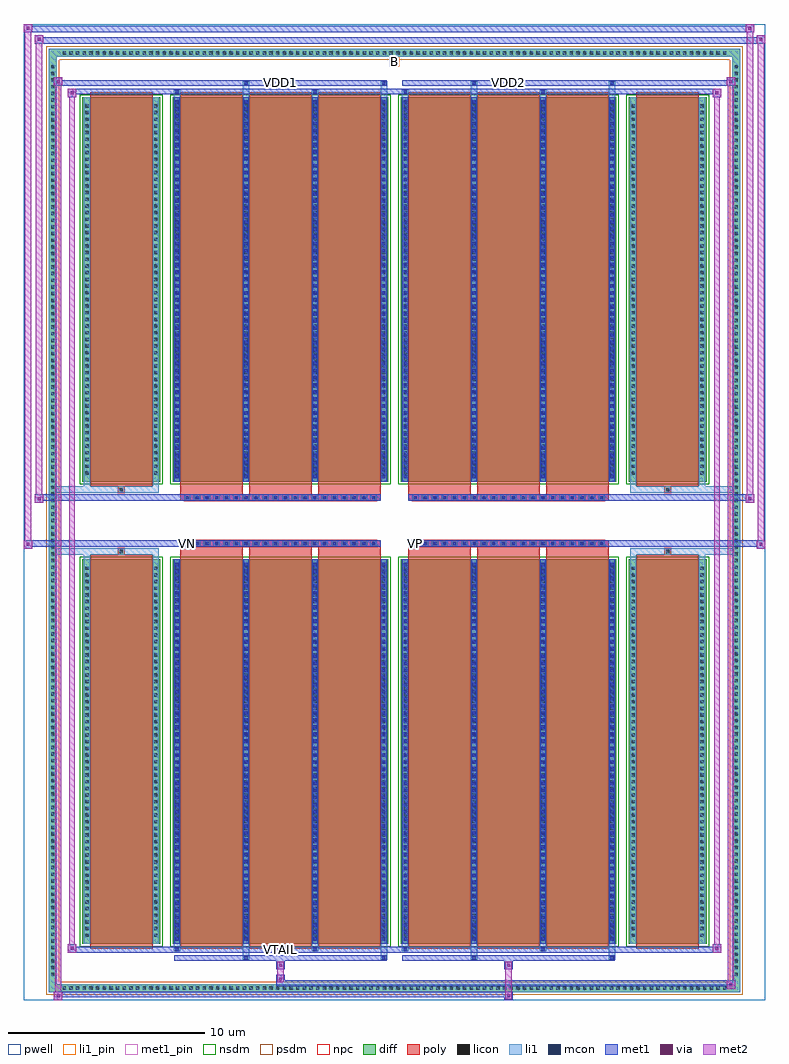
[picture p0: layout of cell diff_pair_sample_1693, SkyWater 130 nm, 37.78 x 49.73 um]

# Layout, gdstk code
import gdstk
lib = gdstk.Library(unit=1e-6, precision=5e-09)
def R(c, l, rs):  # rectangles x0, y0, x1, y1
    for r in rs: c.add(gdstk.rectangle(r[:2], r[2:], *l))
def A(c, l, x, y, w, h, nx, ny, dx, dy):  # array of equal rectangles
    R(c, l, [(x+i*dx, y+j*dy, x+i*dx+w, y+j*dy+h) for i in range(nx) for j in range(ny)])
def P(c, l, *ps):  # polygons
    for p in ps: c.add(gdstk.Polygon(p, *l))
pwell = (64, 44)
diff = (65, 20)
poly = (66, 20)
licon = (66, 44)
li1_pin = (67, 16)
li1 = (67, 20)
mcon = (67, 44)
met1_pin = (68, 16)
met1 = (68, 20)
via = (68, 44)
met2 = (69, 20)
nsdm = (93, 44)
psdm = (94, 20)
npc = (95, 20)

diff_pair_sample_1693 = lib.new_cell('diff_pair_sample_1693')
R(diff_pair_sample_1693, pwell, [(-18.89,-24.43,18.89,25.3), (-16.21,-22.62,-0.01,-0.8), (0.01,-22.62,16.21,-0.8), (-16.21,0.8,-0.01,22.62), (0.01,0.8,16.21,22.62)])
A(diff_pair_sample_1693, diff, -17.035, -24.03, 0.41, 0.41, 100, 2, 0.34, 47.65)
A(diff_pair_sample_1693, diff, -17.62, -23.325, 0.41, 0.41, 1, 137, 0, 0.34)
A(diff_pair_sample_1693, diff, 17.21, -23.325, 0.41, 0.41, 1, 137, 0, 0.34)
R(diff_pair_sample_1693, diff, [(-17.035,-24.03,17.035,-23.62), (-17.62,-23.325,-17.21,23.325), (17.21,-23.325,17.62,23.325), (-15.9,-21.575,-11.94,-1.985), (-11.3,-21.575,-0.32,-1.985), (0.32,-21.575,11.3,-1.985), (11.94,-21.575,15.9,-1.985), (-15.9,1.985,-11.94,21.575), (-11.3,1.985,-0.32,21.575), (0.32,1.985,11.3,21.575), (11.94,1.985,15.9,21.575), (-17.035,23.62,17.035,24.03)])
P(diff_pair_sample_1693, diff, [(17.62,24.03),(-17.62,24.03),(-17.62,-23.62),(-17.21,-23.62),(-17.21,23.62),(17.21,23.62),(17.21,-23.62),(-17.21,-23.62),(-17.62,-23.62),(-17.62,-24.03),(17.62,-24.03)])
A(diff_pair_sample_1693, poly, -10.91, -21.825, 3.18, 20.09, 3, 2, 3.51, 23.56)
A(diff_pair_sample_1693, poly, 0.71, -21.825, 3.18, 20.09, 3, 2, 3.51, 23.56)
A(diff_pair_sample_1693, poly, -10.91, -1.735, 3.18, 0.405, 3, 2, 3.51, 3.065)
A(diff_pair_sample_1693, poly, 0.71, -1.735, 3.18, 0.405, 3, 2, 3.51, 3.065)
A(diff_pair_sample_1693, poly, -10.725, -1.33, 0.33, 0.33, 20, 2, 0.5, 2.33)
A(diff_pair_sample_1693, poly, 0.895, -1.33, 0.33, 0.33, 20, 2, 0.5, 2.33)
R(diff_pair_sample_1693, poly, [(-15.51,-21.825,-12.33,-1.735), (12.33,-21.825,15.51,-1.735), (-14.085,-1.735,-13.755,-1.405), (-14.085,-1.735,-13.755,-1.405), (13.755,-1.735,14.085,-1.405), (13.755,-1.735,14.085,-1.405), (-10.91,-1.33,-0.71,-1), (0.71,-1.33,10.91,-1), (-10.91,1,-0.71,1.33), (0.71,1,10.91,1.33), (-14.085,1.405,-13.755,1.735), (-14.085,1.405,-13.755,1.735), (13.755,1.405,14.085,1.735), (13.755,1.405,14.085,1.735), (-15.51,1.735,-12.33,21.825), (12.33,1.735,15.51,21.825)])
A(diff_pair_sample_1693, licon, -16.915, -23.91, 0.17, 0.17, 100, 2, 0.34, 47.65)
A(diff_pair_sample_1693, licon, -17.5, -23.205, 0.17, 0.17, 1, 137, 0, 0.34)
A(diff_pair_sample_1693, licon, 17.33, -23.205, 0.17, 0.17, 1, 137, 0, 0.34)
A(diff_pair_sample_1693, licon, -15.76, -21.215, 0.17, 0.17, 1, 56, 0, 0.34)
A(diff_pair_sample_1693, licon, -12.25, -21.215, 0.17, 0.17, 1, 56, 0, 0.34)
A(diff_pair_sample_1693, licon, -11.16, -21.215, 0.17, 0.17, 4, 56, 3.51, 0.34)
A(diff_pair_sample_1693, licon, 0.46, -21.215, 0.17, 0.17, 4, 56, 3.51, 0.34)
A(diff_pair_sample_1693, licon, 12.08, -21.215, 0.17, 0.17, 1, 56, 0, 0.34)
A(diff_pair_sample_1693, licon, 15.59, -21.215, 0.17, 0.17, 1, 56, 0, 0.34)
A(diff_pair_sample_1693, licon, -10.645, -1.25, 0.17, 0.17, 20, 2, 0.5, 2.33)
A(diff_pair_sample_1693, licon, 0.975, -1.25, 0.17, 0.17, 20, 2, 0.5, 2.33)
A(diff_pair_sample_1693, licon, -15.76, 2.345, 0.17, 0.17, 1, 56, 0, 0.34)
A(diff_pair_sample_1693, licon, -12.25, 2.345, 0.17, 0.17, 1, 56, 0, 0.34)
A(diff_pair_sample_1693, licon, -11.16, 2.345, 0.17, 0.17, 4, 56, 3.51, 0.34)
A(diff_pair_sample_1693, licon, 0.46, 2.345, 0.17, 0.17, 4, 56, 3.51, 0.34)
A(diff_pair_sample_1693, licon, 12.08, 2.345, 0.17, 0.17, 1, 56, 0, 0.34)
A(diff_pair_sample_1693, licon, 15.59, 2.345, 0.17, 0.17, 1, 56, 0, 0.34)
R(diff_pair_sample_1693, licon, [(-14.005,-1.655,-13.835,-1.485), (13.835,-1.655,14.005,-1.485), (-14.005,1.485,-13.835,1.655), (13.835,1.485,14.005,1.655)])
R(diff_pair_sample_1693, li1_pin, [(-0.25,23.12,0.25,23.62)])
A(diff_pair_sample_1693, li1, -16.995, -23.99, 0.33, 0.33, 100, 2, 0.34, 47.65)
A(diff_pair_sample_1693, li1, -17.58, -23.285, 0.33, 0.33, 1, 137, 0, 0.34)
A(diff_pair_sample_1693, li1, 17.25, -23.285, 0.33, 0.33, 1, 137, 0, 0.34)
A(diff_pair_sample_1693, li1, -11.24, -21.575, 0.33, 19.59, 4, 2, 3.51, 23.56)
A(diff_pair_sample_1693, li1, 0.38, -21.575, 0.33, 19.59, 4, 2, 3.51, 23.56)
A(diff_pair_sample_1693, li1, -11.16, -21.405, 0.17, 0.17, 4, 54, 3.51, 0.36)
A(diff_pair_sample_1693, li1, -11.16, -21.405, 0.17, 19.25, 4, 2, 3.51, 23.56)
A(diff_pair_sample_1693, li1, 0.46, -21.405, 0.17, 0.17, 4, 54, 3.51, 0.36)
A(diff_pair_sample_1693, li1, 0.46, -21.405, 0.17, 19.25, 4, 2, 3.51, 23.56)
A(diff_pair_sample_1693, li1, -15.84, -21.295, 0.33, 0.33, 1, 56, 0, 0.34)
A(diff_pair_sample_1693, li1, -12.33, -21.295, 0.33, 0.33, 1, 56, 0, 0.34)
A(diff_pair_sample_1693, li1, -11.24, -21.295, 0.33, 0.33, 4, 56, 3.51, 0.34)
A(diff_pair_sample_1693, li1, 0.38, -21.295, 0.33, 0.33, 4, 56, 3.51, 0.34)
A(diff_pair_sample_1693, li1, 12, -21.295, 0.33, 0.33, 1, 56, 0, 0.34)
A(diff_pair_sample_1693, li1, 15.51, -21.295, 0.33, 0.33, 1, 56, 0, 0.34)
A(diff_pair_sample_1693, li1, -10.725, -1.33, 0.33, 0.33, 20, 2, 0.5, 2.33)
A(diff_pair_sample_1693, li1, 0.895, -1.33, 0.33, 0.33, 20, 2, 0.5, 2.33)
A(diff_pair_sample_1693, li1, -11.16, 2.155, 0.17, 0.17, 4, 54, 3.51, 0.36)
A(diff_pair_sample_1693, li1, 0.46, 2.155, 0.17, 0.17, 4, 54, 3.51, 0.36)
A(diff_pair_sample_1693, li1, -15.84, 2.265, 0.33, 0.33, 1, 56, 0, 0.34)
A(diff_pair_sample_1693, li1, -12.33, 2.265, 0.33, 0.33, 1, 56, 0, 0.34)
A(diff_pair_sample_1693, li1, -11.24, 2.265, 0.33, 0.33, 4, 56, 3.51, 0.34)
A(diff_pair_sample_1693, li1, 0.38, 2.265, 0.33, 0.33, 4, 56, 3.51, 0.34)
A(diff_pair_sample_1693, li1, 12, 2.265, 0.33, 0.33, 1, 56, 0, 0.34)
A(diff_pair_sample_1693, li1, 15.51, 2.265, 0.33, 0.33, 1, 56, 0, 0.34)
R(diff_pair_sample_1693, li1, [(-17.62,-24.03,-17.21,-23.62), (-17.62,-24.03,-17.21,-23.62), (-17.21,-24.03,17.21,-23.62), (17.21,-24.03,17.62,-23.62), (17.21,-24.03,17.62,-23.62), (-17.62,-23.62,-17.21,23.62), (17.21,-23.62,17.62,23.62), (-7.73,-22.38,-7.4,-21.575), (-7.65,-22.38,-7.48,-22.21), (-0.71,-22.38,-0.38,-21.575), (-0.63,-22.38,-0.46,-22.21), (3.89,-22.38,4.22,-21.575), (3.97,-22.38,4.14,-22.21), (10.91,-22.38,11.24,-21.575), (10.99,-22.38,11.16,-22.21), (-11.24,-21.95,-10.91,-21.575), (-11.16,-21.95,-10.99,-21.78), (-4.22,-21.95,-3.89,-21.575), (-4.14,-21.95,-3.97,-21.78), (0.38,-21.95,0.71,-21.575), (0.46,-21.95,0.63,-21.78), (7.4,-21.95,7.73,-21.575), (7.48,-21.95,7.65,-21.78), (-15.84,-21.575,-15.51,-1.985), (-12.33,-21.575,-12,-1.985), (12,-21.575,12.33,-1.985), (15.51,-21.575,15.84,-1.985), (-15.84,-1.985,-15.51,-1.405), (-12.33,-1.985,-12,-1.405), (12,-1.985,12.33,-1.405), (15.51,-1.985,15.84,-1.405), (-17.62,-1.735,-14.085,-1.405), (-15.84,-1.735,-14.085,-1.405), (-14.085,-1.735,-13.755,-1.405), (-13.755,-1.735,-12,-1.405), (12,-1.735,13.755,-1.405), (13.755,-1.735,14.085,-1.405), (13.755,-1.735,17.62,-1.405), (14.085,-1.735,15.84,-1.405), (-17.62,1.405,-14.085,1.735), (-15.84,1.405,-14.085,1.735), (-15.84,1.405,-15.51,1.985), (-14.085,1.405,-13.755,1.735), (-13.755,1.405,-12,1.735), (-12.33,1.405,-12,1.985), (12,1.405,13.755,1.735), (12,1.405,12.33,1.985), (13.755,1.405,14.085,1.735), (13.755,1.405,17.62,1.735), (14.085,1.405,15.84,1.735), (15.51,1.405,15.84,1.985), (-15.84,1.985,-15.51,21.575), (-12.33,1.985,-12,21.575), (12,1.985,12.33,21.575), (15.51,1.985,15.84,21.575), (-11.24,21.575,-10.91,21.95), (-7.73,21.575,-7.4,22.38), (-4.22,21.575,-3.89,21.95), (-0.71,21.575,-0.38,22.38), (0.38,21.575,0.71,21.95), (3.89,21.575,4.22,22.38), (7.4,21.575,7.73,21.95), (10.91,21.575,11.24,22.38), (-11.16,21.78,-10.99,21.95), (-4.14,21.78,-3.97,21.95), (0.46,21.78,0.63,21.95), (7.48,21.78,7.65,21.95), (-7.65,22.21,-7.48,22.38), (-0.63,22.21,-0.46,22.38), (3.97,22.21,4.14,22.38), (10.99,22.21,11.16,22.38), (-17.62,23.62,-17.21,24.03), (-17.62,23.62,-17.21,24.03), (-17.21,23.62,17.21,24.03), (17.21,23.62,17.62,24.03), (17.21,23.62,17.62,24.03)])
A(diff_pair_sample_1693, mcon, -11.16, -21.405, 0.17, 0.17, 4, 54, 3.51, 0.36)
A(diff_pair_sample_1693, mcon, 0.46, -21.405, 0.17, 0.17, 4, 54, 3.51, 0.36)
A(diff_pair_sample_1693, mcon, -10.645, -1.25, 0.17, 0.17, 20, 2, 0.5, 2.33)
A(diff_pair_sample_1693, mcon, 0.975, -1.25, 0.17, 0.17, 20, 2, 0.5, 2.33)
A(diff_pair_sample_1693, mcon, -11.16, 2.155, 0.17, 0.17, 4, 54, 3.51, 0.36)
A(diff_pair_sample_1693, mcon, 0.46, 2.155, 0.17, 0.17, 4, 54, 3.51, 0.36)
R(diff_pair_sample_1693, mcon, [(-7.65,-22.38,-7.48,-22.21), (-0.63,-22.38,-0.46,-22.21), (3.97,-22.38,4.14,-22.21), (10.99,-22.38,11.16,-22.21), (-11.16,-21.95,-10.99,-21.78), (-4.14,-21.95,-3.97,-21.78), (0.46,-21.95,0.63,-21.78), (7.48,-21.95,7.65,-21.78), (-11.16,21.78,-10.99,21.95), (-4.14,21.78,-3.97,21.95), (0.46,21.78,0.63,21.95), (7.48,21.78,7.65,21.95), (-7.65,22.21,-7.48,22.38), (-0.63,22.21,-0.46,22.38), (3.97,22.21,4.14,22.38), (10.99,22.21,11.16,22.38)])
R(diff_pair_sample_1693, met1_pin, [(-5.945,-21.99,-5.675,-21.72), (-10.695,-1.29,-10.425,-1.02), (0.925,-1.29,1.195,-1.02), (-5.945,22.17,-5.675,22.44), (5.675,22.17,5.945,22.44)])
A(diff_pair_sample_1693, met1, -11.22, -21.575, 0.29, 19.59, 4, 2, 3.51, 23.56)
A(diff_pair_sample_1693, met1, 0.4, -21.575, 0.29, 19.59, 4, 2, 3.51, 23.56)
A(diff_pair_sample_1693, met1, -11.22, -21.465, 0.29, 0.29, 4, 54, 3.51, 0.36)
A(diff_pair_sample_1693, met1, 0.4, -21.465, 0.29, 0.29, 4, 54, 3.51, 0.36)
A(diff_pair_sample_1693, met1, -10.705, -1.31, 0.29, 0.29, 20, 2, 0.5, 2.33)
A(diff_pair_sample_1693, met1, 0.915, -1.31, 0.29, 0.29, 20, 2, 0.5, 2.33)
A(diff_pair_sample_1693, met1, -11.22, 2.095, 0.29, 0.29, 4, 54, 3.51, 0.36)
A(diff_pair_sample_1693, met1, 0.4, 2.095, 0.29, 0.29, 4, 54, 3.51, 0.36)
R(diff_pair_sample_1693, met1, [(-17.35,-24.43,-16.92,-24), (5.595,-24.43,6.025,-24), (-17.35,-24.29,6.025,-24), (16.92,-23.86,17.35,-23.43), (-6.025,-23.72,17.35,-23.43), (-6.025,-23.58,-5.595,-23.15), (-6.025,-22.87,-5.595,-22.44), (5.595,-22.87,6.025,-22.44), (-11.22,-22.44,-0.4,-22.15), (-7.71,-22.44,-7.42,-22.15), (-0.69,-22.44,-0.4,-22.15), (0.4,-22.44,11.22,-22.15), (3.91,-22.44,4.2,-22.15), (10.93,-22.44,11.22,-22.15), (-16.64,-22.01,-16.21,-21.58), (-16.64,-22.01,-11.22,-21.72), (-11.22,-22.01,-10.93,-21.72), (-11.22,-22.01,-0.4,-21.72), (-4.2,-22.01,-3.91,-21.72), (-0.4,-22.01,0.4,-21.72), (0.4,-22.01,0.69,-21.72), (0.4,-22.01,11.22,-21.72), (7.42,-22.01,7.71,-21.72), (11.22,-22.01,16.64,-21.72), (16.21,-22.01,16.64,-21.58), (-18.89,-1.43,-18.46,-1), (18.46,-1.43,18.89,-1), (-18.89,-1.33,-0.71,-1), (-10.91,-1.33,-0.71,-1), (0.71,-1.33,10.91,-1), (0.71,-1.33,18.89,-1), (-18.32,0.9,-17.89,1.33), (17.89,0.9,18.32,1.33), (-18.32,1,-10.91,1.33), (-10.91,1,-0.71,1.33), (0.71,1,10.91,1.33), (10.91,1,18.32,1.33), (-16.64,21.58,-16.21,22.01), (16.21,21.58,16.64,22.01), (-16.64,21.72,-11.22,22.01), (-11.22,21.72,-10.93,22.01), (-11.22,21.72,-0.4,22.01), (-4.2,21.72,-3.91,22.01), (-0.4,21.72,0.4,22.01), (0.4,21.72,0.69,22.01), (0.4,21.72,11.22,22.01), (7.42,21.72,7.71,22.01), (11.22,21.72,16.64,22.01), (-17.35,22.15,-16.92,22.58), (-17.35,22.15,-11.22,22.44), (-11.22,22.15,-0.4,22.44), (-7.71,22.15,-7.42,22.44), (-0.69,22.15,-0.4,22.44), (0.4,22.15,11.22,22.44), (3.91,22.15,4.2,22.44), (10.93,22.15,11.22,22.44), (11.22,22.15,17.35,22.44), (16.92,22.15,17.35,22.58), (-18.32,24.3,-17.89,24.73), (-18.32,24.3,-16.21,24.63), (-16.21,24.3,16.21,24.63), (16.21,24.3,18.89,24.63), (18.46,24.3,18.89,24.73), (-18.89,24.87,-18.46,25.3), (-18.89,24.87,-16.21,25.2), (-16.21,24.87,16.21,25.2), (16.21,24.87,18.32,25.2), (17.89,24.87,18.32,25.3)])
R(diff_pair_sample_1693, via, [(-17.21,-24.29,-17.06,-24.14), (5.735,-24.29,5.885,-24.14), (17.06,-23.72,17.21,-23.57), (-5.885,-23.44,-5.735,-23.29), (-5.885,-22.73,-5.735,-22.58), (5.735,-22.73,5.885,-22.58), (-16.5,-21.87,-16.35,-21.72), (16.35,-21.87,16.5,-21.72), (-18.75,-1.29,-18.6,-1.14), (18.6,-1.29,18.75,-1.14), (-18.18,1.04,-18.03,1.19), (18.03,1.04,18.18,1.19), (-16.5,21.72,-16.35,21.87), (16.35,21.72,16.5,21.87), (-17.21,22.29,-17.06,22.44), (17.06,22.29,17.21,22.44), (-18.18,24.44,-18.03,24.59), (18.6,24.44,18.75,24.59), (-18.75,25.01,-18.6,25.16), (18.03,25.01,18.18,25.16)])
R(diff_pair_sample_1693, met2, [(-17.35,-24.43,-16.92,-24), (-17.28,-24.43,-16.99,22.58), (-16.99,-24.43,-16.92,-24), (-17.3,-24.38,-16.97,-24.05), (5.645,-24.38,5.975,-24.05), (5.645,-24.05,5.975,-22.82), (16.92,-23.86,17.35,-23.43), (16.99,-23.86,17.28,22.58), (17.28,-23.86,17.35,-23.43), (16.97,-23.81,17.3,-23.48), (-5.975,-23.53,-5.645,-23.2), (-5.975,-23.2,-5.645,-22.82), (-5.975,-22.82,-5.645,-22.49), (5.645,-22.82,5.975,-22.49), (-16.64,-22.01,-16.21,-21.58), (-16.57,-22.01,-16.28,22.01), (-16.28,-22.01,-16.21,-21.58), (16.21,-22.01,16.64,-21.58), (16.28,-22.01,16.57,22.01), (16.57,-22.01,16.64,-21.58), (-16.59,-21.96,-16.26,-21.63), (16.26,-21.96,16.59,-21.63), (-18.89,-1.43,-18.46,-1), (-18.84,-1.43,-18.51,25.3), (-18.51,-1.43,-18.46,-1), (18.46,-1.43,18.89,-1), (18.51,-1.43,18.84,24.73), (18.84,-1.43,18.89,-1), (-18.84,-1.38,-18.51,-1.05), (18.51,-1.38,18.84,-1.05), (-18.32,0.9,-17.89,1.33), (-18.27,0.9,-17.94,24.73), (-17.94,0.9,-17.89,1.33), (17.89,0.9,18.32,1.33), (17.94,0.9,18.27,25.3), (18.27,0.9,18.32,1.33), (-18.27,0.95,-17.94,1.28), (17.94,0.95,18.27,1.28), (-16.64,21.58,-16.21,22.01), (-16.28,21.58,-16.21,22.01), (16.21,21.58,16.64,22.01), (16.57,21.58,16.64,22.01), (-16.59,21.63,-16.26,21.96), (16.26,21.63,16.59,21.96), (-17.35,22.15,-16.92,22.58), (-16.99,22.15,-16.92,22.58), (16.92,22.15,17.35,22.58), (17.28,22.15,17.35,22.58), (-17.3,22.2,-16.97,22.53), (16.97,22.2,17.3,22.53), (-18.32,24.3,-17.89,24.73), (-17.94,24.3,-17.89,24.73), (18.46,24.3,18.89,24.73), (18.84,24.3,18.89,24.73), (-18.27,24.35,-17.94,24.68), (18.51,24.35,18.84,24.68), (-18.89,24.87,-18.46,25.3), (-18.51,24.87,-18.46,25.3), (17.89,24.87,18.32,25.3), (18.27,24.87,18.32,25.3), (-18.84,24.92,-18.51,25.25), (17.94,24.92,18.27,25.25)])
R(diff_pair_sample_1693, nsdm, [(-16.03,-21.705,-11.81,-1.855), (-11.43,-21.705,-0.19,-1.855), (0.19,-21.705,11.43,-1.855), (11.81,-21.705,16.03,-1.855), (-16.03,1.855,-11.81,21.705), (-11.43,1.855,-0.19,21.705), (0.19,1.855,11.43,21.705), (11.81,1.855,16.03,21.705)])
P(diff_pair_sample_1693, psdm, [(17.75,24.16),(-17.75,24.16),(-17.75,-23.49),(-17.08,-23.49),(-17.08,23.49),(17.08,23.49),(17.08,-23.49),(-17.08,-23.49),(-17.75,-23.49),(-17.75,-24.16),(17.75,-24.16)])
A(diff_pair_sample_1693, npc, -10.745, -1.35, 0.37, 0.37, 20, 2, 0.5, 2.33)
A(diff_pair_sample_1693, npc, 0.875, -1.35, 0.37, 0.37, 20, 2, 0.5, 2.33)
R(diff_pair_sample_1693, npc, [(-14.105,-1.755,-13.735,-1.385), (13.735,-1.755,14.105,-1.385), (-10.745,-1.35,-9.875,-0.98), (-10.745,-1.35,-9.875,-0.98), (-10.245,-1.35,-9.375,-0.98), (-10.245,-1.35,-9.375,-0.98), (-9.745,-1.35,-8.875,-0.98), (-9.745,-1.35,-8.875,-0.98), (-9.245,-1.35,-8.375,-0.98), (-9.245,-1.35,-8.375,-0.98), (-8.745,-1.35,-7.875,-0.98), (-8.745,-1.35,-7.875,-0.98), (-8.245,-1.35,-7.375,-0.98), (-8.245,-1.35,-7.375,-0.98), (-7.745,-1.35,-6.875,-0.98), (-7.745,-1.35,-6.875,-0.98), (-7.245,-1.35,-6.375,-0.98), (-7.245,-1.35,-6.375,-0.98), (-6.745,-1.35,-5.875,-0.98), (-6.745,-1.35,-5.875,-0.98), (-6.245,-1.35,-5.375,-0.98), (-6.245,-1.35,-5.375,-0.98), (-5.745,-1.35,-4.875,-0.98), (-5.745,-1.35,-4.875,-0.98), (-5.245,-1.35,-4.375,-0.98), (-5.245,-1.35,-4.375,-0.98), (-4.745,-1.35,-3.875,-0.98), (-4.745,-1.35,-3.875,-0.98), (-4.245,-1.35,-3.375,-0.98), (-4.245,-1.35,-3.375,-0.98), (-3.745,-1.35,-2.875,-0.98), (-3.745,-1.35,-2.875,-0.98), (-3.245,-1.35,-2.375,-0.98), (-3.245,-1.35,-2.375,-0.98), (-2.745,-1.35,-1.875,-0.98), (-2.745,-1.35,-1.875,-0.98), (-2.245,-1.35,-1.375,-0.98), (-2.245,-1.35,-1.375,-0.98), (-1.745,-1.35,-0.875,-0.98), (-1.745,-1.35,-0.875,-0.98), (0.875,-1.35,1.745,-0.98), (0.875,-1.35,1.745,-0.98), (1.375,-1.35,2.245,-0.98), (1.375,-1.35,2.245,-0.98), (1.875,-1.35,2.745,-0.98), (1.875,-1.35,2.745,-0.98), (2.375,-1.35,3.245,-0.98), (2.375,-1.35,3.245,-0.98), (2.875,-1.35,3.745,-0.98), (2.875,-1.35,3.745,-0.98), (3.375,-1.35,4.245,-0.98), (3.375,-1.35,4.245,-0.98), (3.875,-1.35,4.745,-0.98), (3.875,-1.35,4.745,-0.98), (4.375,-1.35,5.245,-0.98), (4.375,-1.35,5.245,-0.98), (4.875,-1.35,5.745,-0.98), (4.875,-1.35,5.745,-0.98), (5.375,-1.35,6.245,-0.98), (5.375,-1.35,6.245,-0.98), (5.875,-1.35,6.745,-0.98), (5.875,-1.35,6.745,-0.98), (6.375,-1.35,7.245,-0.98), (6.375,-1.35,7.245,-0.98), (6.875,-1.35,7.745,-0.98), (6.875,-1.35,7.745,-0.98), (7.375,-1.35,8.245,-0.98), (7.375,-1.35,8.245,-0.98), (7.875,-1.35,8.745,-0.98), (7.875,-1.35,8.745,-0.98), (8.375,-1.35,9.245,-0.98), (8.375,-1.35,9.245,-0.98), (8.875,-1.35,9.745,-0.98), (8.875,-1.35,9.745,-0.98), (9.375,-1.35,10.245,-0.98), (9.375,-1.35,10.245,-0.98), (9.875,-1.35,10.745,-0.98), (9.875,-1.35,10.745,-0.98), (-10.745,0.98,-9.875,1.35), (-10.745,0.98,-9.875,1.35), (-10.245,0.98,-9.375,1.35), (-10.245,0.98,-9.375,1.35), (-9.745,0.98,-8.875,1.35), (-9.745,0.98,-8.875,1.35), (-9.245,0.98,-8.375,1.35), (-9.245,0.98,-8.375,1.35), (-8.745,0.98,-7.875,1.35), (-8.745,0.98,-7.875,1.35), (-8.245,0.98,-7.375,1.35), (-8.245,0.98,-7.375,1.35), (-7.745,0.98,-6.875,1.35), (-7.745,0.98,-6.875,1.35), (-7.245,0.98,-6.375,1.35), (-7.245,0.98,-6.375,1.35), (-6.745,0.98,-5.875,1.35), (-6.745,0.98,-5.875,1.35), (-6.245,0.98,-5.375,1.35), (-6.245,0.98,-5.375,1.35), (-5.745,0.98,-4.875,1.35), (-5.745,0.98,-4.875,1.35), (-5.245,0.98,-4.375,1.35), (-5.245,0.98,-4.375,1.35), (-4.745,0.98,-3.875,1.35), (-4.745,0.98,-3.875,1.35), (-4.245,0.98,-3.375,1.35), (-4.245,0.98,-3.375,1.35), (-3.745,0.98,-2.875,1.35), (-3.745,0.98,-2.875,1.35), (-3.245,0.98,-2.375,1.35), (-3.245,0.98,-2.375,1.35), (-2.745,0.98,-1.875,1.35), (-2.745,0.98,-1.875,1.35), (-2.245,0.98,-1.375,1.35), (-2.245,0.98,-1.375,1.35), (-1.745,0.98,-0.875,1.35), (-1.745,0.98,-0.875,1.35), (0.875,0.98,1.745,1.35), (0.875,0.98,1.745,1.35), (1.375,0.98,2.245,1.35), (1.375,0.98,2.245,1.35), (1.875,0.98,2.745,1.35), (1.875,0.98,2.745,1.35), (2.375,0.98,3.245,1.35), (2.375,0.98,3.245,1.35), (2.875,0.98,3.745,1.35), (2.875,0.98,3.745,1.35), (3.375,0.98,4.245,1.35), (3.375,0.98,4.245,1.35), (3.875,0.98,4.745,1.35), (3.875,0.98,4.745,1.35), (4.375,0.98,5.245,1.35), (4.375,0.98,5.245,1.35), (4.875,0.98,5.745,1.35), (4.875,0.98,5.745,1.35), (5.375,0.98,6.245,1.35), (5.375,0.98,6.245,1.35), (5.875,0.98,6.745,1.35), (5.875,0.98,6.745,1.35), (6.375,0.98,7.245,1.35), (6.375,0.98,7.245,1.35), (6.875,0.98,7.745,1.35), (6.875,0.98,7.745,1.35), (7.375,0.98,8.245,1.35), (7.375,0.98,8.245,1.35), (7.875,0.98,8.745,1.35), (7.875,0.98,8.745,1.35), (8.375,0.98,9.245,1.35), (8.375,0.98,9.245,1.35), (8.875,0.98,9.745,1.35), (8.875,0.98,9.745,1.35), (9.375,0.98,10.245,1.35), (9.375,0.98,10.245,1.35), (9.875,0.98,10.745,1.35), (9.875,0.98,10.745,1.35), (-14.105,1.385,-13.735,1.755), (13.735,1.385,14.105,1.755)])
diff_pair_sample_1693.add(gdstk.Label('VTAIL', (-5.81,-21.855), layer=68, texttype=5))
diff_pair_sample_1693.add(gdstk.Label('VN', (-10.56,-1.155), layer=68, texttype=5))
diff_pair_sample_1693.add(gdstk.Label('VP', (1.06,-1.155), layer=68, texttype=5))
diff_pair_sample_1693.add(gdstk.Label('B', (0,23.37), layer=67, texttype=5))
diff_pair_sample_1693.add(gdstk.Label('VDD2', (5.81,22.305), layer=68, texttype=5))
diff_pair_sample_1693.add(gdstk.Label('VDD1', (-5.81,22.305), layer=68, texttype=5))

lib.write_gds('diff_pair_sample_1693.gds')
